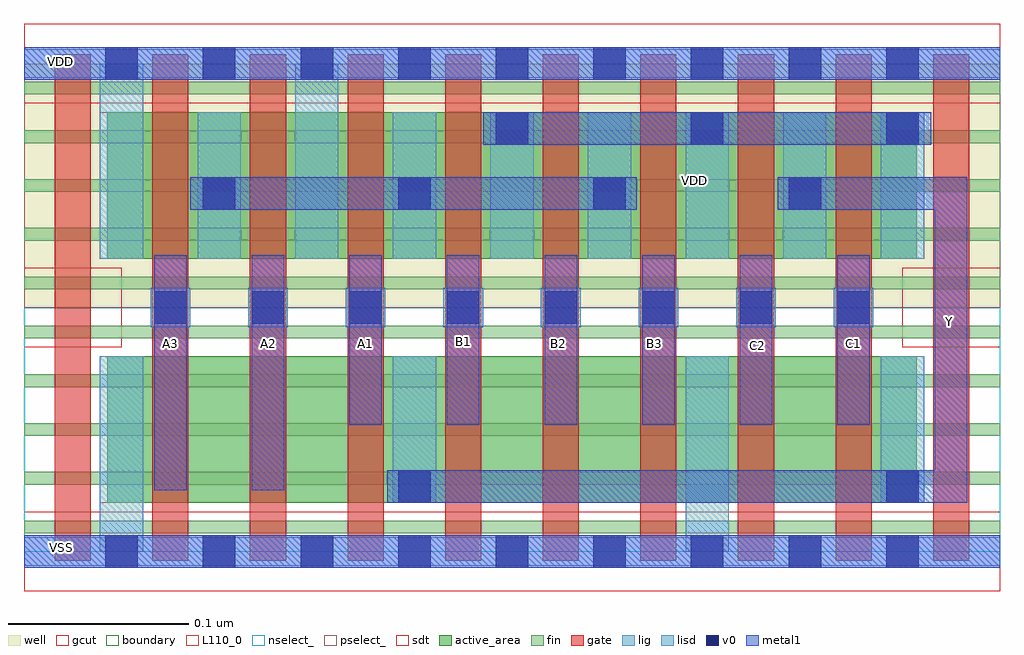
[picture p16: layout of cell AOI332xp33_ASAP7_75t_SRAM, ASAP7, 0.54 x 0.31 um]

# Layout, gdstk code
import gdstk
lib = gdstk.Library(unit=1e-6, precision=1e-09)
def R(c, l, rs):  # rectangles x0, y0, x1, y1
    for r in rs: c.add(gdstk.rectangle(r[:2], r[2:], *l))
def A(c, l, x, y, w, h, nx, ny, dx, dy):  # array of equal rectangles
    R(c, l, [(x+i*dx, y+j*dy, x+i*dx+w, y+j*dy+h) for i in range(nx) for j in range(ny)])
well = (1, 0)
fin = (2, 0)
gate = (7, 0)
gcut = (10, 0)
active_area = (11, 0)
nselect_ = (12, 0)
pselect_ = (13, 0)
lig = (16, 0)
lisd = (17, 0)
v0 = (18, 0)
metal1 = (19, 0)
sdt = (88, 0)
boundary = (100, 0)
L110_0 = (110, 0)

aoi332xp33_asap7_75t_sra = lib.new_cell('AOI332xp33_ASAP7_75t_SRAM')
R(aoi332xp33_asap7_75t_sra, well, [(0,0.135,0.54,0.27)])
A(aoi332xp33_asap7_75t_sra, fin, 0, 0.01, 0.54, 0.007, 1, 10, 0, 0.027)
A(aoi332xp33_asap7_75t_sra, gate, 0.017, -0.005, 0.02, 0.28, 10, 1, 0.054, 0)
R(aoi332xp33_asap7_75t_sra, gate, [(0.503,-0.005,0.523,0.275)])
R(aoi332xp33_asap7_75t_sra, gcut, [(0,-0.022,0.098,0.022), (0,-0.022,0.54,0.022), (0.496,-0.022,0.54,0.022), (0,0.113,0.054,0.157), (0.486,0.113,0.54,0.157), (0,0.248,0.098,0.292), (0,0.248,0.54,0.292), (0.496,0.248,0.54,0.292)])
R(aoi332xp33_asap7_75t_sra, active_area, [(0.046,0.027,0.494,0.108), (0.046,0.162,0.494,0.243)])
R(aoi332xp33_asap7_75t_sra, nselect_, [(0,0,0.54,0.135)])
R(aoi332xp33_asap7_75t_sra, pselect_, [(0,0.135,0.54,0.27)])
A(aoi332xp33_asap7_75t_sra, lig, 0.07, 0.124, 0.022, 0.022, 8, 1, 0.054, 0)
R(aoi332xp33_asap7_75t_sra, lig, [(0,-0.008,0.54,0.008), (0,0.262,0.54,0.278)])
A(aoi332xp33_asap7_75t_sra, lisd, 0.042, 0.162, 0.024, 0.081, 9, 1, 0.054, 0)
R(aoi332xp33_asap7_75t_sra, lisd, [(0.042,0,0.066,0.108), (0.366,0,0.39,0.108), (0.204,0.027,0.228,0.108), (0.474,0.027,0.498,0.108), (0.042,0.162,0.066,0.27), (0.15,0.162,0.174,0.27)])
A(aoi332xp33_asap7_75t_sra, v0, 0.045, -0.009, 0.018, 0.018, 9, 2, 0.054, 0.27)
A(aoi332xp33_asap7_75t_sra, v0, 0.072, 0.126, 0.018, 0.018, 8, 1, 0.054, 0)
A(aoi332xp33_asap7_75t_sra, v0, 0.099, 0.189, 0.018, 0.018, 4, 1, 0.108, 0)
A(aoi332xp33_asap7_75t_sra, v0, 0.261, 0.225, 0.018, 0.018, 3, 1, 0.108, 0)
R(aoi332xp33_asap7_75t_sra, v0, [(0.477,-0.009,0.495,0.009), (0.207,0.027,0.225,0.045), (0.477,0.027,0.495,0.045), (0.477,0.261,0.495,0.279)])
A(aoi332xp33_asap7_75t_sra, metal1, 0.18, 0.07, 0.018, 0.094, 6, 1, 0.054, 0)
R(aoi332xp33_asap7_75t_sra, metal1, [(0,-0.009,0.54,0.009), (0.201,0.027,0.513,0.045), (0.504,0.027,0.522,0.207), (0.072,0.034,0.09,0.164), (0.126,0.034,0.144,0.164), (0.092,0.189,0.339,0.207), (0.417,0.189,0.517,0.207), (0.254,0.225,0.502,0.243), (0,0.261,0.54,0.279)])
A(aoi332xp33_asap7_75t_sra, sdt, 0.042, 0.027, 0.024, 0.081, 3, 1, 0.162, 0)
A(aoi332xp33_asap7_75t_sra, sdt, 0.042, 0.162, 0.024, 0.081, 9, 1, 0.054, 0)
R(aoi332xp33_asap7_75t_sra, sdt, [(0.474,0.027,0.498,0.108), (0.474,0.162,0.498,0.243)])
R(aoi332xp33_asap7_75t_sra, boundary, [(0,0,0.54,0.27)])
R(aoi332xp33_asap7_75t_sra, L110_0, [(0,0,0.54,0.27)])
aoi332xp33_asap7_75t_sra.add(gdstk.Label('VDD', (0.02,0.271), layer=19, texttype=251))
aoi332xp33_asap7_75t_sra.add(gdstk.Label('VSS', (0.021,0.002), layer=19, texttype=251))
aoi332xp33_asap7_75t_sra.add(gdstk.Label('C1', (0.459,0.115), layer=19, texttype=251))
aoi332xp33_asap7_75t_sra.add(gdstk.Label('C2', (0.406,0.114), layer=19, texttype=251))
aoi332xp33_asap7_75t_sra.add(gdstk.Label('B3', (0.349,0.115), layer=19, texttype=251))
aoi332xp33_asap7_75t_sra.add(gdstk.Label('B2', (0.296,0.115), layer=19, texttype=251))
aoi332xp33_asap7_75t_sra.add(gdstk.Label('B1', (0.243,0.116), layer=19, texttype=251))
aoi332xp33_asap7_75t_sra.add(gdstk.Label('A1', (0.189,0.115), layer=19, texttype=251))
aoi332xp33_asap7_75t_sra.add(gdstk.Label('A2', (0.135,0.115), layer=19, texttype=251))
aoi332xp33_asap7_75t_sra.add(gdstk.Label('A3', (0.081,0.115), layer=19, texttype=251))
aoi332xp33_asap7_75t_sra.add(gdstk.Label('Y', (0.512,0.127), layer=19, texttype=251))
aoi332xp33_asap7_75t_sra.add(gdstk.Label('VDD', (0.371,0.205), layer=1, texttype=251))
aoi332xp33_asap7_75t_sra.add(gdstk.Label('VSS', (0.312,-0.046), layer=3, texttype=251))

lib.write_gds('AOI332xp33_ASAP7_75t_SRAM.gds')
